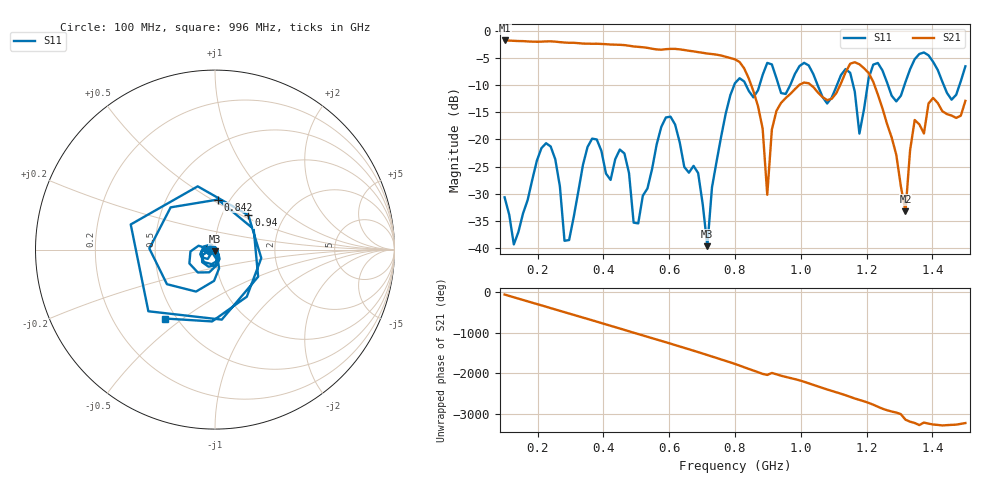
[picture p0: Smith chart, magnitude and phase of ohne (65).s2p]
! NanoVNA-App
! Date: 2025-09-26 09:55:54
! Start: 100MHz Stop: 1,5GHz Points: 101
! S-Parameter data: F S11 S21 S12 S22
# Hz S RI R 50
!  Frequency  S11_Real  S11_Imag  S21_Real  S21_Imag  S12_Real  S12_Imag  S22_Real  S22_Imag
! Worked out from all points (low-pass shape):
!   101 points, 100 MHz to 1.5 GHz, reference 50 ohm
!   highest |S21| = -1.79 dB at 100 MHz (marker M1); lowest = -33.2 dB at 1.318 GHz (marker M2)
!   |S21| within 3 dB of the highest: start of sweep to 771.8 MHz
!   lowest |S11| = -39.6 dB at 716 MHz (marker M3), VSWR 1.02, Z = 49.9 - j1.04 ohm
!   |S11| at or under -10 dB: start of sweep to 797.6 MHz; 833.3 MHz to 874.7 MHz (41.35 MHz wide, 4.84 % of centre); 1.051 GHz to 1.11 GHz (58.72 MHz wide, 5.43 % of centre) (the widest 3 of 7)
!   S12 and S22 are empty: the file has one direction only
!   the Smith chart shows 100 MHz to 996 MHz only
!   S11 on the Smith chart (normalised r, x): 100 MHz: 0.94, -0.01; 842 MHz: 0.88, +0.53; 940 MHz: 1.33, +0.55; 996 MHz: 0.44, -0.43
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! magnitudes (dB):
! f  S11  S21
! 100 MHz  -30.6  -1.8
! 128 MHz  -39.3  -1.9
! 226 MHz  -20.7  -2.0
! 296 MHz  -38.5  -2.2
! 338 MHz  -24.7  -2.4
! 464 MHz  -22.6  -2.6
! 506 MHz  -35.4  -3.0
! 576 MHz  -17.7  -3.5
! 688 MHz  -26.2  -3.9
! 716 MHz  -39.6  -4.2
! 800 MHz  -9.6  -5.3
! 842 MHz  -11.1  -8.8
! 898 MHz  -5.9  -30.2
! 940 MHz  -11.5  -13.3
! 996 MHz  -6.5  -9.9
! 1.038 GHz  -8.0  -10.4
! 1.178 GHz  -18.9  -6.2
! 1.22 GHz  -6.2  -9.4
! 1.276 GHz  -11.9  -19.6
! 1.318 GHz  -9.4  -33.2
! 1.346 GHz  -5.2  -16.4
! 1.5 GHz  -6.5  -12.9
